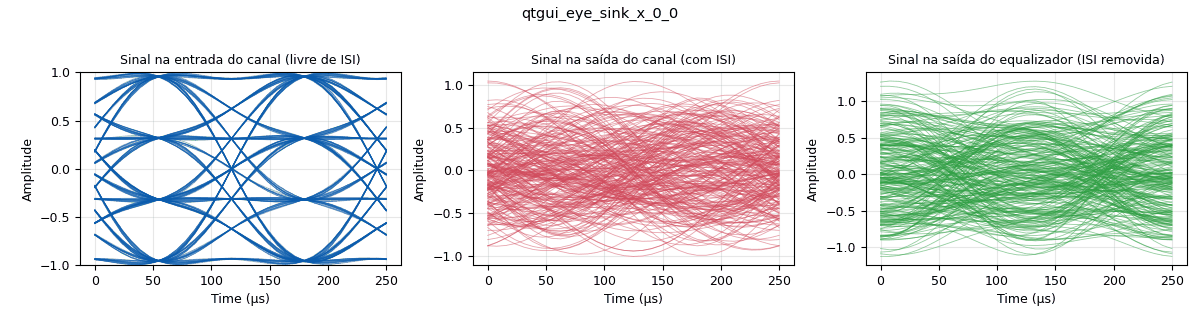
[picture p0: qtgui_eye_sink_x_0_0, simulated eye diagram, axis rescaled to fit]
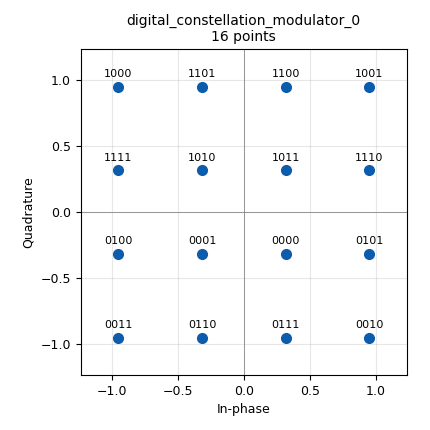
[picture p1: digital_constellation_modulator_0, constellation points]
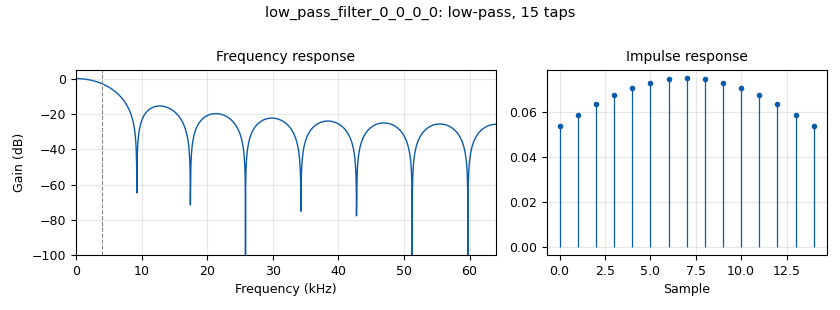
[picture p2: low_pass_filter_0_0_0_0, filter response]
options:
  parameters:
    author: Edson Porto da Silva
    copyright: '2023'
    generate_options: qt_gui
    id: Labo5_2
    output_language: python
    title: Caso de estudo de equalização linear
  states: {}

blocks:
- name: RRCrolloff
  id: variable
  parameters:
    value: '1'
  states: {}
- name: constelacao
  id: variable_constellation
  parameters:
    precision: '8'
    type: 16qam
  states: {}
- name: samp_rate
  id: variable
  parameters:
    value: '128000'
  states: {}
- name: sps
  id: variable
  parameters:
    value: '16'
  states: {}
- name: Canal
  id: interp_fir_filter_xxx
  parameters:
    alias: Canal
    interp: '1'
    taps: '[0.000000+0.000000j, 0.000002-0.000008j, 0.000004-0.000015j, 0.000005-0.000023j, 0.000007-0.000031j, 0.000008-0.000039j, 0.000009-0.000047j, 0.000010-0.000055j, 0.000011-0.000063j, 0.000011-0.000071j, 0.000012-0.000079j, 0.000012-0.000088j, 0.000012-0.000096j, 0.000011-0.000105j, 0.000011-0.000113j, 0.000010-0.000122j, 0.000010-0.000131j, 0.000008-0.000140j, 0.000007-0.000149j, 0.000006-0.000158j, 0.000004-0.000167j, 0.000002-0.000176j, -0.000000-0.000186j, -0.000003-0.000195j, -0.000005-0.000205j, -0.000008-0.000215j, -0.000011-0.000225j, -0.000015-0.000235j, -0.000018-0.000245j, -0.000022-0.000256j, -0.000027-0.000267j, -0.000031-0.000277j, -0.000036-0.000288j, -0.000041-0.000300j, -0.000047-0.000311j, -0.000052-0.000323j, -0.000059-0.000335j, -0.000065-0.000347j, -0.000072-0.000359j, -0.000079-0.000372j, -0.000087-0.000384j, -0.000095-0.000398j, -0.000104-0.000411j, -0.000113-0.000425j, -0.000122-0.000439j, -0.000132-0.000453j, -0.000143-0.000468j, -0.000154-0.000483j, -0.000166-0.000498j, -0.000178-0.000514j, -0.000191-0.000530j, -0.000205-0.000547j, -0.000219-0.000564j, -0.000234-0.000581j, -0.000250-0.000599j, -0.000267-0.000618j, -0.000284-0.000637j, -0.000303-0.000657j, -0.000322-0.000677j, -0.000343-0.000698j, -0.000365-0.000720j, -0.000388-0.000742j, -0.000412-0.000766j, -0.000438-0.000790j, -0.000465-0.000814j, -0.000493-0.000840j, -0.000524-0.000867j, -0.000556-0.000895j, -0.000590-0.000924j, -0.000626-0.000954j, -0.000664-0.000985j, -0.000704-0.001018j, -0.000748-0.001052j, -0.000794-0.001088j, -0.000843-0.001125j, -0.000895-0.001164j, -0.000951-0.001205j, -0.001010-0.001248j, -0.001074-0.001294j, -0.001143-0.001342j, -0.001216-0.001392j, -0.001295-0.001446j, -0.001381-0.001502j, -0.001473-0.001562j, -0.001572-0.001626j, -0.001680-0.001694j, -0.001797-0.001766j, -0.001925-0.001844j, -0.002065-0.001927j, -0.002217-0.002016j, -0.002385-0.002112j, -0.002569-0.002216j, -0.002773-0.002329j, -0.002999-0.002451j, -0.003251-0.002585j, -0.003534-0.002731j, -0.003851-0.002892j, -0.004210-0.003069j, -0.004618-0.003266j, -0.005085-0.003485j, -0.005625-0.003730j, -0.006253-0.004005j, -0.006992-0.004316j, -0.007871-0.004667j, -0.008929-0.005067j, -0.010224-0.005521j, -0.011835-0.006033j, -0.013880-0.006602j, -0.016538-0.007206j, -0.020079-0.007779j, -0.024922-0.008145j, -0.031694-0.007877j, -0.041261-0.005979j, -0.054529-0.000269j, -0.071477+0.013582j, -0.088288+0.042700j, -0.091593+0.094277j, -0.053532+0.162673j, 0.053711+0.203466j, 0.195248+0.129345j, 0.209981-0.077810j, -0.018122-0.179184j, -0.157518+0.064692j, 0.131107+0.172651j, 0.118497-0.163790j, -0.164172+0.055378j, 0.208034+0.070253j, -0.128123-0.116040j, 0.161267+0.143685j, -0.130932-0.112861j, 0.211231+0.059961j, -0.159653+0.067305j, 0.101872-0.174616j, 0.151255+0.155304j, -0.146321+0.087104j, -0.048489-0.173448j, 0.190766-0.117281j, 0.218843+0.083423j, 0.101539+0.184318j, -0.008206+0.171057j, -0.060281+0.116805j, -0.070438+0.068239j, -0.062723+0.036868j, -0.050972+0.019373j, -0.040408+0.010266j, -0.032167+0.005643j, -0.026012+0.003293j, -0.021433+0.002080j, -0.017982+0.001441j, -0.015331+0.001097j, -0.013253+0.000909j, -0.011591+0.000805j, -0.010240+0.000748j, -0.009123+0.000716j, -0.008187+0.000699j, -0.007394+0.000690j, -0.006714+0.000685j, -0.006127+0.000683j, -0.005615+0.000681j, -0.005165+0.000680j, -0.004768+0.000678j, -0.004415+0.000676j, -0.004099+0.000673j, -0.003815+0.000670j, -0.003559+0.000666j, -0.003328+0.000662j, -0.003117+0.000657j, -0.002925+0.000652j, -0.002749+0.000646j, -0.002588+0.000640j, -0.002439+0.000634j, -0.002302+0.000627j, -0.002175+0.000620j, -0.002057+0.000613j, -0.001948+0.000606j, -0.001847+0.000598j, -0.001752+0.000591j, -0.001663+0.000583j, -0.001580+0.000575j, -0.001502+0.000568j, -0.001429+0.000560j, -0.001361+0.000552j, -0.001296+0.000544j, -0.001235+0.000536j, -0.001178+0.000528j, -0.001123+0.000520j, -0.001072+0.000512j, -0.001023+0.000504j, -0.000977+0.000496j, -0.000933+0.000488j, -0.000892+0.000480j, -0.000852+0.000473j, -0.000814+0.000465j, -0.000779+0.000457j, -0.000744+0.000449j, -0.000712+0.000441j, -0.000681+0.000434j, -0.000651+0.000426j, -0.000623+0.000418j, -0.000595+0.000411j, -0.000569+0.000403j, -0.000545+0.000396j, -0.000521+0.000388j, -0.000498+0.000381j, -0.000476+0.000373j, -0.000455+0.000366j, -0.000435+0.000358j, -0.000415+0.000351j, -0.000397+0.000344j, -0.000379+0.000336j, -0.000362+0.000329j, -0.000345+0.000322j, -0.000329+0.000315j, -0.000314+0.000307j, -0.000299+0.000300j, -0.000285+0.000293j, -0.000271+0.000286j, -0.000258+0.000279j, -0.000246+0.000272j, -0.000233+0.000265j, -0.000222+0.000258j, -0.000210+0.000250j, -0.000199+0.000243j, -0.000189+0.000236j, -0.000179+0.000229j, -0.000169+0.000222j, -0.000159+0.000215j, -0.000150+0.000208j, -0.000141+0.000201j, -0.000133+0.000194j, -0.000125+0.000187j, -0.000117+0.000180j, -0.000110+0.000173j, -0.000102+0.000166j, -0.000095+0.000159j, -0.000089+0.000152j, -0.000082+0.000145j, -0.000076+0.000138j, -0.000070+0.000131j, -0.000064+0.000124j, -0.000059+0.000117j, -0.000054+0.000110j, -0.000049+0.000103j, -0.000044+0.000096j, -0.000039+0.000089j, -0.000035+0.000081j, -0.000031+0.000074j, -0.000027+0.000067j, -0.000023+0.000060j, -0.000019+0.000052j, -0.000016+0.000045j, -0.000013+0.000038j, -0.000010+0.000030j, -0.000007+0.000023j, -0.000005+0.000015j, -0.000002+0.000008j]'
    type: ccc
  states: {}
- name: Equalizador
  id: interp_fir_filter_xxx
  parameters:
    alias: Equalizador (Filtro FIR)
    interp: '1'
    taps: '[0.000000+0.000000j, 0.000002-0.000008j, 0.000004-0.000015j, 0.000005-0.000023j, 0.000007-0.000031j, 0.000008-0.000039j, 0.000009-0.000047j, 0.000010-0.000055j, 0.000011-0.000063j, 0.000011-0.000071j, 0.000012-0.000079j, 0.000012-0.000088j, 0.000012-0.000096j, 0.000011-0.000105j, 0.000011-0.000113j, 0.000010-0.000122j, 0.000010-0.000131j, 0.000008-0.000140j, 0.000007-0.000149j, 0.000006-0.000158j, 0.000004-0.000167j, 0.000002-0.000176j, -0.000000-0.000186j, -0.000003-0.000195j, -0.000005-0.000205j, -0.000008-0.000215j, -0.000011-0.000225j, -0.000015-0.000235j, -0.000018-0.000245j, -0.000022-0.000256j, -0.000027-0.000267j, -0.000031-0.000277j, -0.000036-0.000288j, -0.000041-0.000300j, -0.000047-0.000311j, -0.000052-0.000323j, -0.000059-0.000335j, -0.000065-0.000347j, -0.000072-0.000359j, -0.000079-0.000372j, -0.000087-0.000384j, -0.000095-0.000398j, -0.000104-0.000411j, -0.000113-0.000425j, -0.000122-0.000439j, -0.000132-0.000453j, -0.000143-0.000468j, -0.000154-0.000483j, -0.000166-0.000498j, -0.000178-0.000514j, -0.000191-0.000530j, -0.000205-0.000547j, -0.000219-0.000564j, -0.000234-0.000581j, -0.000250-0.000599j, -0.000267-0.000618j, -0.000284-0.000637j, -0.000303-0.000657j, -0.000322-0.000677j, -0.000343-0.000698j, -0.000365-0.000720j, -0.000388-0.000742j, -0.000412-0.000766j, -0.000438-0.000790j, -0.000465-0.000814j, -0.000493-0.000840j, -0.000524-0.000867j, -0.000556-0.000895j, -0.000590-0.000924j, -0.000626-0.000954j, -0.000664-0.000985j, -0.000704-0.001018j, -0.000748-0.001052j, -0.000794-0.001088j, -0.000843-0.001125j, -0.000895-0.001164j, -0.000951-0.001205j, -0.001010-0.001248j, -0.001074-0.001294j, -0.001143-0.001342j, -0.001216-0.001392j, -0.001295-0.001446j, -0.001381-0.001502j, -0.001473-0.001562j, -0.001572-0.001626j, -0.001680-0.001694j, -0.001797-0.001766j, -0.001925-0.001844j, -0.002065-0.001927j, -0.002217-0.002016j, -0.002385-0.002112j, -0.002569-0.002216j, -0.002773-0.002329j, -0.002999-0.002451j, -0.003251-0.002585j, -0.003534-0.002731j, -0.003851-0.002892j, -0.004210-0.003069j, -0.004618-0.003266j, -0.005085-0.003485j, -0.005625-0.003730j, -0.006253-0.004005j, -0.006992-0.004316j, -0.007871-0.004667j, -0.008929-0.005067j, -0.010224-0.005521j, -0.011835-0.006033j, -0.013880-0.006602j, -0.016538-0.007206j, -0.020079-0.007779j, -0.024922-0.008145j, -0.031694-0.007877j, -0.041261-0.005979j, -0.054529-0.000269j, -0.071477+0.013582j, -0.088288+0.042700j, -0.091593+0.094277j, -0.053532+0.162673j, 0.053711+0.203466j, 0.195248+0.129345j, 0.209981-0.077810j, -0.018122-0.179184j, -0.157518+0.064692j, 0.131107+0.172651j, 0.118497-0.163790j, -0.164172+0.055378j, 0.208034+0.070253j, -0.128123-0.116040j, 0.161267+0.143685j, -0.130932-0.112861j, 0.211231+0.059961j, -0.159653+0.067305j, 0.101872-0.174616j, 0.151255+0.155304j, -0.146321+0.087104j, -0.048489-0.173448j, 0.190766-0.117281j, 0.218843+0.083423j, 0.101539+0.184318j, -0.008206+0.171057j, -0.060281+0.116805j, -0.070438+0.068239j, -0.062723+0.036868j, -0.050972+0.019373j, -0.040408+0.010266j, -0.032167+0.005643j, -0.026012+0.003293j, -0.021433+0.002080j, -0.017982+0.001441j, -0.015331+0.001097j, -0.013253+0.000909j, -0.011591+0.000805j, -0.010240+0.000748j, -0.009123+0.000716j, -0.008187+0.000699j, -0.007394+0.000690j, -0.006714+0.000685j, -0.006127+0.000683j, -0.005615+0.000681j, -0.005165+0.000680j, -0.004768+0.000678j, -0.004415+0.000676j, -0.004099+0.000673j, -0.003815+0.000670j, -0.003559+0.000666j, -0.003328+0.000662j, -0.003117+0.000657j, -0.002925+0.000652j, -0.002749+0.000646j, -0.002588+0.000640j, -0.002439+0.000634j, -0.002302+0.000627j, -0.002175+0.000620j, -0.002057+0.000613j, -0.001948+0.000606j, -0.001847+0.000598j, -0.001752+0.000591j, -0.001663+0.000583j, -0.001580+0.000575j, -0.001502+0.000568j, -0.001429+0.000560j, -0.001361+0.000552j, -0.001296+0.000544j, -0.001235+0.000536j, -0.001178+0.000528j, -0.001123+0.000520j, -0.001072+0.000512j, -0.001023+0.000504j, -0.000977+0.000496j, -0.000933+0.000488j, -0.000892+0.000480j, -0.000852+0.000473j, -0.000814+0.000465j, -0.000779+0.000457j, -0.000744+0.000449j, -0.000712+0.000441j, -0.000681+0.000434j, -0.000651+0.000426j, -0.000623+0.000418j, -0.000595+0.000411j, -0.000569+0.000403j, -0.000545+0.000396j, -0.000521+0.000388j, -0.000498+0.000381j, -0.000476+0.000373j, -0.000455+0.000366j, -0.000435+0.000358j, -0.000415+0.000351j, -0.000397+0.000344j, -0.000379+0.000336j, -0.000362+0.000329j, -0.000345+0.000322j, -0.000329+0.000315j, -0.000314+0.000307j, -0.000299+0.000300j, -0.000285+0.000293j, -0.000271+0.000286j, -0.000258+0.000279j, -0.000246+0.000272j, -0.000233+0.000265j, -0.000222+0.000258j, -0.000210+0.000250j, -0.000199+0.000243j, -0.000189+0.000236j, -0.000179+0.000229j, -0.000169+0.000222j, -0.000159+0.000215j, -0.000150+0.000208j, -0.000141+0.000201j, -0.000133+0.000194j, -0.000125+0.000187j, -0.000117+0.000180j, -0.000110+0.000173j, -0.000102+0.000166j, -0.000095+0.000159j, -0.000089+0.000152j, -0.000082+0.000145j, -0.000076+0.000138j, -0.000070+0.000131j, -0.000064+0.000124j, -0.000059+0.000117j, -0.000054+0.000110j, -0.000049+0.000103j, -0.000044+0.000096j, -0.000039+0.000089j, -0.000035+0.000081j, -0.000031+0.000074j, -0.000027+0.000067j, -0.000023+0.000060j, -0.000019+0.000052j, -0.000016+0.000045j, -0.000013+0.000038j, -0.000010+0.000030j, -0.000007+0.000023j, -0.000005+0.000015j, -0.000002+0.000008j]'
    type: ccc
  states: {}
- name: analog_const_source_x_0
  id: analog_const_source_x
  parameters:
    const: '0'
    type: float
  states: {}
- name: analog_random_source_x_1
  id: analog_random_source_x
  parameters:
    max: '255'
    min: '0'
    num_samps: '10000'
    repeat: 'True'
    type: byte
  states: {}
- name: blocks_complex_to_real_0
  id: blocks_complex_to_real
  parameters: {}
  states: {}
- name: blocks_complex_to_real_0_0
  id: blocks_complex_to_real
  parameters: {}
  states: {}
- name: blocks_complex_to_real_0_0_0
  id: blocks_complex_to_real
  parameters: {}
  states: {}
- name: blocks_complex_to_real_1
  id: blocks_complex_to_real
  parameters: {}
  states: {}
- name: blocks_float_to_complex_0
  id: blocks_float_to_complex
  parameters: {}
  states: {}
- name: blocks_multiply_const_vxx_0
  id: blocks_multiply_const_vxx
  parameters:
    const: '1'
    type: complex
  states: {}
- name: blocks_throttle_0
  id: blocks_throttle
  parameters:
    samples_per_second: samp_rate
    type: complex
  states: {}
- name: digital_constellation_modulator_0
  id: digital_constellation_modulator
  parameters:
    constellation: constelacao
    differential: 'False'
    excess_bw: RRCrolloff
    samples_per_symbol: sps
  states: {}
- name: low_pass_filter_0_0_0_0
  id: low_pass_filter
  parameters:
    beta: '100'
    cutoff_freq: samp_rate/sps/2
    gain: '1'
    interp: '1'
    samp_rate: samp_rate
    type: interp_fir_filter_ccf
    width: (samp_rate/sps)
    win: window.WIN_RECTANGULAR
  states: {}
- name: qtgui_eye_sink_x_0_0
  id: qtgui_eye_sink_x
  parameters:
    color2: red
    color3: black
    ctrlpanel: 'True'
    label1: Sinal na entrada do canal (livre de ISI)
    label2: Sinal na saída do canal (com ISI)
    label3: Sinal na saída do equalizador (ISI removida)
    nconnections: '3'
    samp_per_symbol: sps
    size: 1024*8
    srate: samp_rate
    style1: '3'
    type: float
  states: {}

connections:
- [Canal, '0', Equalizador, '0']
- [Canal, '0', blocks_multiply_const_vxx_0, '0']
- [Equalizador, '0', blocks_complex_to_real_0_0_0, '0']
- [analog_const_source_x_0, '0', blocks_float_to_complex_0, '1']
- [analog_random_source_x_1, '0', digital_constellation_modulator_0, '0']
- [blocks_complex_to_real_0, '0', qtgui_eye_sink_x_0_0, '0']
- [blocks_complex_to_real_0_0, '0', qtgui_eye_sink_x_0_0, '1']
- [blocks_complex_to_real_0_0_0, '0', qtgui_eye_sink_x_0_0, '2']
- [blocks_complex_to_real_1, '0', blocks_float_to_complex_0, '0']
- [blocks_float_to_complex_0, '0', low_pass_filter_0_0_0_0, '0']
- [blocks_multiply_const_vxx_0, '0', blocks_complex_to_real_0_0, '0']
- [blocks_throttle_0, '0', Canal, '0']
- [digital_constellation_modulator_0, '0', blocks_complex_to_real_1, '0']
- [low_pass_filter_0_0_0_0, '0', blocks_complex_to_real_0, '0']
- [low_pass_filter_0_0_0_0, '0', blocks_throttle_0, '0']

metadata:
  file_format: 1
  grc_version: 3.10.7.0
